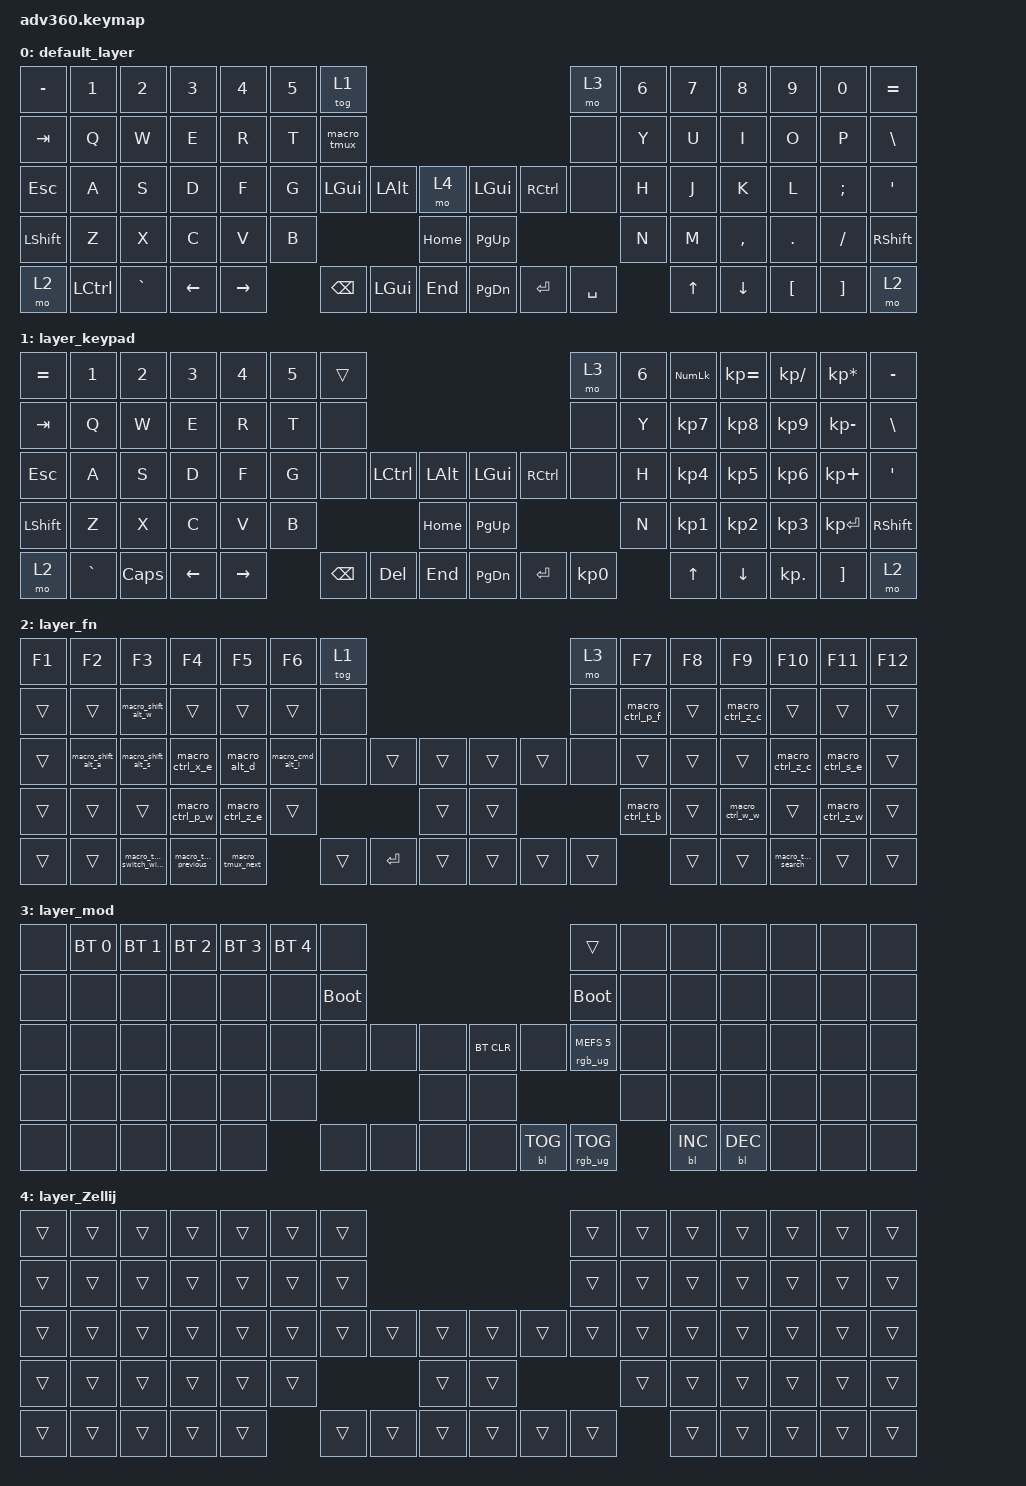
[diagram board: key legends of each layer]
/*
 * Copyright (c) 2020 The ZMK Contributors
 *
 * SPDX-License-Identifier: MIT
 */
/* THIS FILE WAS GENERATED!
 *
 * This file was generated automatically. You may or may not want to
 * edit it directly.
 */

#include <dt-bindings/zmk/stp.h>
#include <behaviors.dtsi>
#include <dt-bindings/zmk/backlight.h>
#include <dt-bindings/zmk/bt.h>
#include <dt-bindings/zmk/keys.h>
#include <dt-bindings/zmk/rgb.h>

/ {
    behaviors {
        #include "version.dtsi"

        hm: homerow_mods {
            compatible = "zmk,behavior-hold-tap";
            display-name = "HOMEROW_MODS";
            #binding-cells = <2>;
            tapping-term-ms = <200>;
            quick_tap_ms = <175>;
            flavor = "tap-preferred";
            bindings = <&kp>, <&kp>;
        };
    };

    macros {
        macro_ctrl_w_w: macro_ctrl_w_w {
            compatible = "zmk,behavior-macro";
            display-name = "macro_ctrl_w_w";
            #binding-cells = <0>;
            bindings = <&kp LC(COMMA) &kp COMMA>;
        };

        macro_tmux_search: macro_tmux_search {
            compatible = "zmk,behavior-macro";
            display-name = "macro_tmux_search";
            #binding-cells = <0>;
            bindings = <&sk LCTRL &kp FSLH &kp MINUS &kp LS(LEFT_BRACKET)>;
        };

        macro_tmux_next: macro_tmux_next {
            compatible = "zmk,behavior-macro";
            display-name = "macro_tmux_next";
            #binding-cells = <0>;
            bindings = <&sk LCTRL &kp FSLH &kp L>;
        };

        macro_tmux_previous: macro_tmux_previous {
            compatible = "zmk,behavior-macro";
            display-name = "macro_tmux_previous";
            #binding-cells = <0>;
            bindings = <&sk LCTRL &kp FSLH &kp FSLH>;
        };

        macro_tmux_switch_window: macro_tmux_switch_window {
            compatible = "zmk,behavior-macro";
            display-name = "macro_tmux_switch_window";
            #binding-cells = <0>;
            bindings = <&sk LCTRL &kp FSLH &kp COMMA>;
        };

        macro_quotes: macro_quotes {
            compatible = "zmk,behavior-macro";
            display-name = "macro_quotes";
            #binding-cells = <0>;
            bindings = <&kp SQT &kp SQT &kp LEFT>;
        };

        macro_dquotes: macro_dquotes {
            compatible = "zmk,behavior-macro";
            display-name = "macro_dquotes";
            #binding-cells = <0>;
            bindings = <&kp DQT &kp DQT &kp LEFT>;
        };

        macro_braces: macro_braces {
            compatible = "zmk,behavior-macro";
            display-name = "macro_braces";
            #binding-cells = <0>;
            bindings = <&kp LBRC &kp RBRC &kp LEFT>;
        };

        macro_parens: macro_parens {
            compatible = "zmk,behavior-macro";
            display-name = "macro_parens";
            #binding-cells = <0>;
            bindings = <&kp LPAR &kp RPAR &kp LEFT>;
        };

        macro_brackets: macro_brackets {
            compatible = "zmk,behavior-macro";
            display-name = "macro_brackets";
            #binding-cells = <0>;
            bindings = <&kp LBKT &kp RBKT &kp LEFT>;
        };

        macro_kinesis: macro_kinesis {
            compatible = "zmk,behavior-macro";
            display-name = "macro_kinesis";
            #binding-cells = <0>;
            bindings = <&kp LS(K) &kp I &kp N &kp E &kp S &kp I &kp S>;
        };

        macro_tmux: macro_tmux {
            compatible = "zmk,behavior-macro";
            display-name = "macro_tmux";
            #binding-cells = <0>;
            bindings = <&sk LCTRL &kp FSLH>;
        };

        macro_shift_alt_a: macro_shift_alt_a {
            compatible = "zmk,behavior-macro";
            display-name = "macro_shift_alt_a";
            #binding-cells = <0>;
            bindings = <&kp LS(LA(A))>;
        };

        macro_shift_alt_s: macro_shift_alt_s {
            compatible = "zmk,behavior-macro";
            display-name = "macro_shift_alt_s";
            #binding-cells = <0>;
            bindings = <&kp LS(LA(S))>;
        };

        macro_shift_alt_w: macro_shift_alt_w {
            compatible = "zmk,behavior-macro";
            display-name = "macro_shift_alt_w";
            #binding-cells = <0>;
            bindings = <&kp LS(LA(W))>;
        };

        macro_shift_alt_d: macro_shift_alt_d {
            compatible = "zmk,behavior-macro";
            display-name = "macro_shift_alt_d";
            #binding-cells = <0>;
            bindings = <&kp LS(LA(D))>;
        };

        macro_alt_d: macro_alt_d {
            compatible = "zmk,behavior-macro";
            display-name = "macro_alt_d";
            #binding-cells = <0>;
            bindings = <&kp LA(H)>;
        };

        macro_cmd_alt_i: macro_cmd_alt_i {
            compatible = "zmk,behavior-macro";
            display-name = "macro_cmd_alt_i";
            #binding-cells = <0>;
            bindings = <&kp LA(LG(G))>;
        };

        macro_ctrl_x_e: macro_ctrl_x_e {
            compatible = "zmk,behavior-macro";
            display-name = "macro_ctrl_x_e";
            #binding-cells = <0>;
            bindings = <&kp LC(B) &kp D>;
        };

        macro_ctrl_p_w: macro_ctrl_p_w {
            compatible = "zmk,behavior-macro";
            display-name = "macro_ctrl_p_w";
            #binding-cells = <0>;
            bindings = <&kp LC(B) &kp COMMA>;
        };

        macro_ctrl_p_f: macro_ctrl_p_f {
            compatible = "zmk,behavior-macro";
            display-name = "macro_ctrl_p_f";
            #binding-cells = <0>;
            bindings = <&kp LC(B) &kp Y>;
        };

        macro_ctrl_z_w: macro_ctrl_z_w {
            compatible = "zmk,behavior-macro";
            display-name = "macro_ctrl_z_w";
            #binding-cells = <0>;
            bindings = <&kp LC(FSLH) &kp COMMA>;
        };

        macro_ctrl_z_c: macro_ctrl_z_c {
            compatible = "zmk,behavior-macro";
            display-name = "macro_ctrl_z_c";
            #binding-cells = <0>;
            bindings = <&kp LC(FSLH) &kp I>;
        };

        macro_ctrl_z_e: macro_ctrl_z_e {
            compatible = "zmk,behavior-macro";
            display-name = "macro_ctrl_z_e";
            #binding-cells = <0>;
            bindings = <&kp LC(FSLH) &kp D>;
        };

        macro_ctrl_s_e: macro_ctrl_s_e {
            compatible = "zmk,behavior-macro";
            display-name = "macro_ctrl_s_e";
            #binding-cells = <0>;
            bindings = <&kp LC(SEMI) &kp D>;
        };

        macro_ctrl_t_b: macro_ctrl_t_b {
            compatible = "zmk,behavior-macro";
            #binding-cells = <0>;
            bindings = <&kp LC(K) &kp N>;
            display-name = "MACRO_CTRL_T_B";
        };
    };

    keymap {
        compatible = "zmk,keymap";

        default_layer {
            bindings = <
&kp MINUS  &kp N1     &kp N2     &kp N3    &kp N4     &kp N5  &tog 1                                                         &mo 3      &kp N6  &kp N7  &kp N8     &kp N9    &kp N0    &kp EQUAL
&kp TAB    &kp Q      &kp W      &kp E     &kp R      &kp T   &macro_tmux                                                    &none      &kp Y   &kp U   &kp I      &kp O     &kp P     &kp BSLH
&kp ESC    &kp A      &kp S      &kp D     &kp F      &kp G   &kp LGUI     &kp LEFT_ALT  &mo 4         &kp LGUI   &kp RCTRL  &none      &kp H   &kp J   &kp K      &kp L     &kp SEMI  &kp SQT
&kp LSHFT  &kp Z      &kp X      &kp C     &kp V      &kp B                              &kp HOME      &kp PG_UP                        &kp N   &kp M   &kp COMMA  &kp DOT   &kp FSLH  &kp RSHFT
&mo 2      &kp LCTRL  &kp GRAVE  &kp LEFT  &kp RIGHT          &kp BSPC     &kp LGUI      &kp END       &kp PG_DN  &kp ENTER  &kp SPACE          &kp UP  &kp DOWN   &kp LBKT  &kp RBKT  &mo 2
            >;
        };

        layer_keypad {
            bindings = <
&kp EQUAL  &kp N1     &kp N2    &kp N3    &kp N4     &kp N5  &trans                                                   &mo 3      &kp N6  &kp KP_NUM  &kp KP_EQUAL  &kp KP_DIVIDE  &kp KP_MULTIPLY  &kp MINUS
&kp TAB    &kp Q      &kp W     &kp E     &kp R      &kp T   &none                                                    &none      &kp Y   &kp KP_N7   &kp KP_N8     &kp KP_N9      &kp KP_MINUS     &kp BSLH
&kp ESC    &kp A      &kp S     &kp D     &kp F      &kp G   &none     &kp LCTRL  &kp LALT      &kp LGUI   &kp RCTRL  &none      &kp H   &kp KP_N4   &kp KP_N5     &kp KP_N6      &kp KP_PLUS      &kp SQT
&kp LSHFT  &kp Z      &kp X     &kp C     &kp V      &kp B                        &kp HOME      &kp PG_UP                        &kp N   &kp KP_N1   &kp KP_N2     &kp KP_N3      &kp KP_ENTER     &kp RSHFT
&mo 2      &kp GRAVE  &kp CAPS  &kp LEFT  &kp RIGHT          &kp BSPC  &kp DEL    &kp END       &kp PG_DN  &kp ENTER  &kp KP_N0          &kp UP      &kp DOWN      &kp KP_DOT     &kp RBKT         &mo 2
            >;
        };

        layer_fn {
            bindings = <
&kp F1  &kp F2              &kp F3                     &kp F4                &kp F5            &kp F6            &tog 1                                         &mo 3   &kp F7           &kp F8  &kp F9           &kp F10             &kp F11          &kp F12
&trans  &trans              &macro_shift_alt_w         &trans                &trans            &trans            &none                                          &none   &macro_ctrl_p_f  &trans  &macro_ctrl_z_c  &trans              &trans           &trans
&trans  &macro_shift_alt_a  &macro_shift_alt_s         &macro_ctrl_x_e       &macro_alt_d      &macro_cmd_alt_i  &none   &trans     &trans      &trans  &trans  &none   &trans           &trans  &trans           &macro_ctrl_z_c     &macro_ctrl_s_e  &trans
&trans  &trans              &trans                     &macro_ctrl_p_w       &macro_ctrl_z_e   &trans                               &trans      &trans                  &macro_ctrl_t_b  &trans  &macro_ctrl_w_w  &trans              &macro_ctrl_z_w  &trans
&trans  &trans              &macro_tmux_switch_window  &macro_tmux_previous  &macro_tmux_next                    &trans  &kp ENTER  &trans      &trans  &trans  &trans                   &trans  &trans           &macro_tmux_search  &trans           &trans
            >;
        };

        layer_mod {
            bindings = <
&none  &bt BT_SEL 0  &bt BT_SEL 1  &bt BT_SEL 2  &bt BT_SEL 3  &bt BT_SEL 4  &none                                                  &trans                  &none  &none       &none       &none  &none  &none
&none  &none         &none         &none         &none         &none         &bootloader                                            &bootloader             &none  &none       &none       &none  &none  &none
&none  &none         &none         &none         &none         &none         &none        &none  &none      &bt BT_CLR  &none       &rgb_ug RGB_MEFS_CMD 5  &none  &none       &none       &none  &none  &none
&none  &none         &none         &none         &none         &none                             &none      &none                                           &none  &none       &none       &none  &none  &none
&none  &none         &none         &none         &none                       &none        &none  &none      &none       &bl BL_TOG  &rgb_ug RGB_TOG                &bl BL_INC  &bl BL_DEC  &none  &none  &none
            >;
        };

        layer_Zellij {
            bindings = <
&trans  &trans  &trans  &trans  &trans  &trans  &trans                                      &trans  &trans  &trans  &trans  &trans  &trans  &trans
&trans  &trans  &trans  &trans  &trans  &trans  &trans                                      &trans  &trans  &trans  &trans  &trans  &trans  &trans
&trans  &trans  &trans  &trans  &trans  &trans  &trans  &trans  &trans      &trans  &trans  &trans  &trans  &trans  &trans  &trans  &trans  &trans
&trans  &trans  &trans  &trans  &trans  &trans                  &trans      &trans                  &trans  &trans  &trans  &trans  &trans  &trans
&trans  &trans  &trans  &trans  &trans          &trans  &trans  &trans      &trans  &trans  &trans          &trans  &trans  &trans  &trans  &trans
            >;
        };
    };
};
